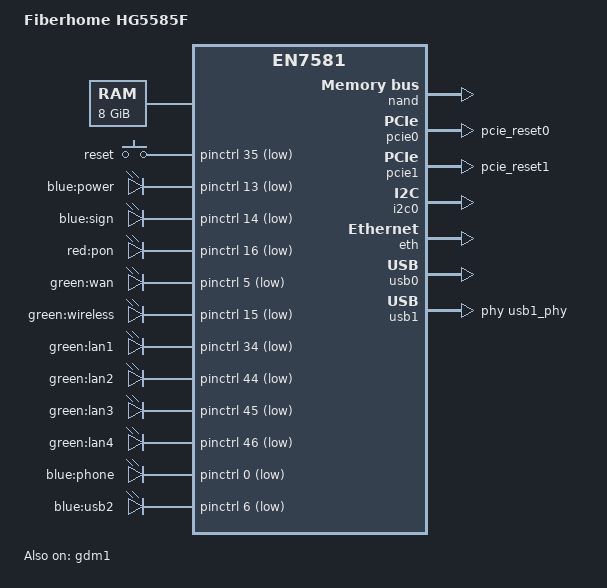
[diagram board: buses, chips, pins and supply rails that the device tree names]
// SPDX-License-Identifier: (GPL-2.0-only OR BSD-2-Clause)
/dts-v1/;

#include "an7581.dtsi"
#include <dt-bindings/input/linux-event-codes.h>
#include <dt-bindings/leds/common.h>
#include <dt-bindings/gpio/gpio.h>
#include "an7581-fiberhome-hg5585f-stock-parts.dtsi"

/ {
	model = "Fiberhome HG5585F";
	compatible = "fiberhome,hg5585f",
			 "fiberhome,hg5585f-ct",
			 "fiberhome,hg5585f-cu",
		     "airoha,an7581",
		     "airoha,en7581";

	aliases {
		serial0 = &uart1;
	};

	chosen {
		stdout-path = "serial0:115200n8";
		linux,usable-memory-range = <0x0 0x80200000 0x0 0x1fe00000>;
	};

	memory@80000000 {
		device_type = "memory";
		reg = <0x0 0x80000000 0x2 0x00000000>;
	};

	keys {
		compatible = "gpio-keys";

		reset {
			label = "reset";
			linux,code = <KEY_RESTART>;
			gpios = <&pinctrl 35 GPIO_ACTIVE_LOW>;
			debounce-interval = <60>;
		};

/*
 *	Enable this node will lead to initr_dm() error.
 *		wireless {
 *			lebel = "wireless";
 *			linux,code = <KEY_WLAN>;
 *			gpios = <&pinctrl 3 GPIO_ACTIVE_LOW>;
 *			debounce-interval = <60>;
 *		};
 *
 *		wps {
 *			lebel = "wps";
 *			linux,code = <KEY_WPS_BUTTON>;
 *			gpios = <&pinctrl 4 GPIO_ACTIVE_LOW>;
 *			debounce-interval = <60>;
 *		};
 */
	};

	leds {
		compatible = "gpio-leds";

		led-0 {
			label = "blue:power";
			gpios = <&pinctrl 13 GPIO_ACTIVE_LOW>;
		};

		led-1 {
			label = "blue:sign";
			gpios = <&pinctrl 14 GPIO_ACTIVE_LOW>;
		};

		led-2 {
			label = "red:pon";
			gpios = <&pinctrl 16 GPIO_ACTIVE_LOW>;
		};

		led-3 {
			label = "green:wan";
			gpios = <&pinctrl 5 GPIO_ACTIVE_LOW>;
		};

		led-4 {
			label = "green:wireless";
			gpios = <&pinctrl 15 GPIO_ACTIVE_LOW>;
		};

		led-5 {
			label = "green:lan1";
			gpios = <&pinctrl 34 GPIO_ACTIVE_LOW>;
		};

		led-6 {
			label = "green:lan2";
			gpios = <&pinctrl 44 GPIO_ACTIVE_LOW>;
		};

		led-7 {
			label = "green:lan3";
			gpios = <&pinctrl 45 GPIO_ACTIVE_LOW>;
		};

		led-8 {
			label = "green:lan4";
			gpios = <&pinctrl 46 GPIO_ACTIVE_LOW>;
		};

		led-9 {
			label = "blue:phone";
			gpios = <&pinctrl 0 GPIO_ACTIVE_LOW>;
		};

		led-10 {
			label = "blue:usb2";
			gpios = <&pinctrl 6 GPIO_ACTIVE_LOW>;
		};

/*
 *	Enable this node will lead to initr_dm() error.
 *		led-11 {
 *			label = "blue:usb3";
 *			gpios = <&pinctrl 8 GPIO_ACTIVE_LOW>;
 *		};
 */
	};
};

/*
 * The HG5585F wires a raw NAND device to the NFI block instead of the SPI-NAND
 * part, so the parallel interface is used.  &snfi keeps its default disabled
 * state from an7581.dtsi: both nodes drive the same NFI block and only one of
 * them may be enabled.
 */
&nand {
	status = "okay";

	partitions {
		compatible = "fixed-partitions";
		#address-cells = <1>;
		#size-cells = <1>;

		partition@0 {
			label = "bl2";
			/* Match atf-airoha build.sh: OVERRIDE_UBI_START_ADDR=0x100000. */
			reg = <0x0 0x100000>;
		};

		partition@100000 {
			label = "ubi";
			reg = <0x100000 0x000000>;
		};
	};
};

&pinctrl {
	gpio-ranges = <&pinctrl 0 13 47>;

	pcie0_rst_pins: pcie0-rst-pins {
		conf {
			pins = "pcie_reset0";
			drive-open-drain = <1>;
		};
	};

	pcie1_rst_pins: pcie1-rst-pins {
		conf {
			pins = "pcie_reset1";
			drive-open-drain = <1>;
		};
	};
};

&pcie0 {
	pinctrl-names = "default";
	pinctrl-0 = <&pcie0_rst_pins>;
	status = "okay";
};

&pcie1 {
	pinctrl-names = "default";
	pinctrl-0 = <&pcie1_rst_pins>;
	status = "okay";
};

&i2c0 {
	status = "okay";
};

&eth {
	status = "okay";
};

&gdm1 {
	status = "okay";
};

&usb0 {
	status = "okay";
};

&usb1 {
	status = "okay";

	phys = <&usb1_phy PHY_TYPE_USB2>;
	mediatek,u3p-dis-msk = <0x1>;
};
